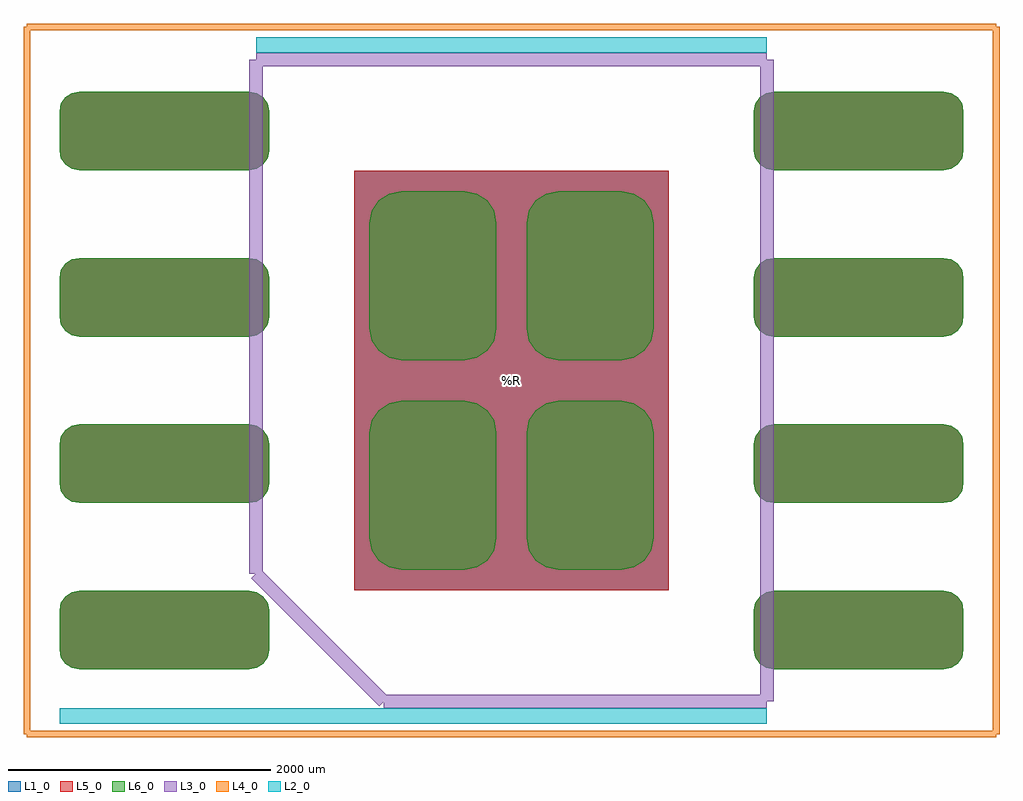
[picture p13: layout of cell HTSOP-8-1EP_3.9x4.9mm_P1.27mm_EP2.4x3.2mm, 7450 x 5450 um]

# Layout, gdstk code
import gdstk
lib = gdstk.Library(unit=1e-6, precision=1e-09)
def R(c, l, rs):  # rectangles x0, y0, x1, y1
    for r in rs: c.add(gdstk.rectangle(r[:2], r[2:], *l))
def P(c, l, *ps):  # polygons
    for p in ps: c.add(gdstk.Polygon(p, *l))
L1_0 = (1, 0)
L2_0 = (2, 0)
L3_0 = (3, 0)
L4_0 = (4, 0)
L5_0 = (5, 0)
L6_0 = (6, 0)

htsop_8_1ep_3_9x4_9mm_p1 = lib.new_cell('HTSOP-8-1EP_3.9x4.9mm_P1.27mm_EP2.4x3.2mm')
R(htsop_8_1ep_3_9x4_9mm_p1, L1_0, [(-1200,-1600,1200,1600)])
P(htsop_8_1ep_3_9x4_9mm_p1, L1_0, [(-2000,-2205),(-1943,-2194),(-1894,-2161),(-1861,-2112),(-1850,-2055),(-1850,-1755),(-1861,-1698),(-1894,-1649),(-1943,-1616),(-2000,-1605),(-3300,-1605),(-3357,-1616),(-3406,-1649),(-3439,-1698),(-3450,-1755),(-3450,-2055),(-3439,-2112),(-3406,-2161),(-3357,-2194),(-3300,-2205)],
  [(-2000,-935),(-1943,-924),(-1894,-891),(-1861,-842),(-1850,-785),(-1850,-485),(-1861,-428),(-1894,-379),(-1943,-346),(-2000,-335),(-3300,-335),(-3357,-346),(-3406,-379),(-3439,-428),(-3450,-485),(-3450,-785),(-3439,-842),(-3406,-891),(-3357,-924),(-3300,-935)],
  [(-2000,335),(-1943,346),(-1894,379),(-1861,428),(-1850,485),(-1850,785),(-1861,842),(-1894,891),(-1943,924),(-2000,935),(-3300,935),(-3357,924),(-3406,891),(-3439,842),(-3450,785),(-3450,485),(-3439,428),(-3406,379),(-3357,346),(-3300,335)],
  [(-2000,1605),(-1943,1616),(-1894,1649),(-1861,1698),(-1850,1755),(-1850,2055),(-1861,2112),(-1894,2161),(-1943,2194),(-2000,2205),(-3300,2205),(-3357,2194),(-3406,2161),(-3439,2112),(-3450,2055),(-3450,1755),(-3439,1698),(-3406,1649),(-3357,1616),(-3300,1605)],
  [(3300,1605),(3357,1616),(3406,1649),(3439,1698),(3450,1755),(3450,2055),(3439,2112),(3406,2161),(3357,2194),(3300,2205),(2000,2205),(1943,2194),(1894,2161),(1861,2112),(1850,2055),(1850,1755),(1861,1698),(1894,1649),(1943,1616),(2000,1605)],
  [(3300,335),(3357,346),(3406,379),(3439,428),(3450,485),(3450,785),(3439,842),(3406,891),(3357,924),(3300,935),(2000,935),(1943,924),(1894,891),(1861,842),(1850,785),(1850,485),(1861,428),(1894,379),(1943,346),(2000,335)],
  [(3300,-935),(3357,-924),(3406,-891),(3439,-842),(3450,-785),(3450,-485),(3439,-428),(3406,-379),(3357,-346),(3300,-335),(2000,-335),(1943,-346),(1894,-379),(1861,-428),(1850,-485),(1850,-785),(1861,-842),(1894,-891),(1943,-924),(2000,-935)],
  [(3300,-2205),(3357,-2194),(3406,-2161),(3439,-2112),(3450,-2055),(3450,-1755),(3439,-1698),(3406,-1649),(3357,-1616),(3300,-1605),(2000,-1605),(1943,-1616),(1894,-1649),(1861,-1698),(1850,-1755),(1850,-2055),(1861,-2112),(1894,-2161),(1943,-2194),(2000,-2205)])
R(htsop_8_1ep_3_9x4_9mm_p1, L5_0, [(-1200,-1600,1200,1600)])
P(htsop_8_1ep_3_9x4_9mm_p1, L5_0, [(-2000,-2205),(-1943,-2194),(-1894,-2161),(-1861,-2112),(-1850,-2055),(-1850,-1755),(-1861,-1698),(-1894,-1649),(-1943,-1616),(-2000,-1605),(-3300,-1605),(-3357,-1616),(-3406,-1649),(-3439,-1698),(-3450,-1755),(-3450,-2055),(-3439,-2112),(-3406,-2161),(-3357,-2194),(-3300,-2205)],
  [(-2000,-935),(-1943,-924),(-1894,-891),(-1861,-842),(-1850,-785),(-1850,-485),(-1861,-428),(-1894,-379),(-1943,-346),(-2000,-335),(-3300,-335),(-3357,-346),(-3406,-379),(-3439,-428),(-3450,-485),(-3450,-785),(-3439,-842),(-3406,-891),(-3357,-924),(-3300,-935)],
  [(-2000,335),(-1943,346),(-1894,379),(-1861,428),(-1850,485),(-1850,785),(-1861,842),(-1894,891),(-1943,924),(-2000,935),(-3300,935),(-3357,924),(-3406,891),(-3439,842),(-3450,785),(-3450,485),(-3439,428),(-3406,379),(-3357,346),(-3300,335)],
  [(-2000,1605),(-1943,1616),(-1894,1649),(-1861,1698),(-1850,1755),(-1850,2055),(-1861,2112),(-1894,2161),(-1943,2194),(-2000,2205),(-3300,2205),(-3357,2194),(-3406,2161),(-3439,2112),(-3450,2055),(-3450,1755),(-3439,1698),(-3406,1649),(-3357,1616),(-3300,1605)],
  [(3300,1605),(3357,1616),(3406,1649),(3439,1698),(3450,1755),(3450,2055),(3439,2112),(3406,2161),(3357,2194),(3300,2205),(2000,2205),(1943,2194),(1894,2161),(1861,2112),(1850,2055),(1850,1755),(1861,1698),(1894,1649),(1943,1616),(2000,1605)],
  [(3300,335),(3357,346),(3406,379),(3439,428),(3450,485),(3450,785),(3439,842),(3406,891),(3357,924),(3300,935),(2000,935),(1943,924),(1894,891),(1861,842),(1850,785),(1850,485),(1861,428),(1894,379),(1943,346),(2000,335)],
  [(3300,-935),(3357,-924),(3406,-891),(3439,-842),(3450,-785),(3450,-485),(3439,-428),(3406,-379),(3357,-346),(3300,-335),(2000,-335),(1943,-346),(1894,-379),(1861,-428),(1850,-485),(1850,-785),(1861,-842),(1894,-891),(1943,-924),(2000,-935)],
  [(3300,-2205),(3357,-2194),(3406,-2161),(3439,-2112),(3450,-2055),(3450,-1755),(3439,-1698),(3406,-1649),(3357,-1616),(3300,-1605),(2000,-1605),(1943,-1616),(1894,-1649),(1861,-1698),(1850,-1755),(1850,-2055),(1861,-2112),(1894,-2161),(1943,-2194),(2000,-2205)])
P(htsop_8_1ep_3_9x4_9mm_p1, L6_0, [(-2000,-2205),(-1943,-2194),(-1894,-2161),(-1861,-2112),(-1850,-2055),(-1850,-1755),(-1861,-1698),(-1894,-1649),(-1943,-1616),(-2000,-1605),(-3300,-1605),(-3357,-1616),(-3406,-1649),(-3439,-1698),(-3450,-1755),(-3450,-2055),(-3439,-2112),(-3406,-2161),(-3357,-2194),(-3300,-2205)],
  [(-2000,-935),(-1943,-924),(-1894,-891),(-1861,-842),(-1850,-785),(-1850,-485),(-1861,-428),(-1894,-379),(-1943,-346),(-2000,-335),(-3300,-335),(-3357,-346),(-3406,-379),(-3439,-428),(-3450,-485),(-3450,-785),(-3439,-842),(-3406,-891),(-3357,-924),(-3300,-935)],
  [(-2000,335),(-1943,346),(-1894,379),(-1861,428),(-1850,485),(-1850,785),(-1861,842),(-1894,891),(-1943,924),(-2000,935),(-3300,935),(-3357,924),(-3406,891),(-3439,842),(-3450,785),(-3450,485),(-3439,428),(-3406,379),(-3357,346),(-3300,335)],
  [(-2000,1605),(-1943,1616),(-1894,1649),(-1861,1698),(-1850,1755),(-1850,2055),(-1861,2112),(-1894,2161),(-1943,2194),(-2000,2205),(-3300,2205),(-3357,2194),(-3406,2161),(-3439,2112),(-3450,2055),(-3450,1755),(-3439,1698),(-3406,1649),(-3357,1616),(-3300,1605)],
  [(3300,1605),(3357,1616),(3406,1649),(3439,1698),(3450,1755),(3450,2055),(3439,2112),(3406,2161),(3357,2194),(3300,2205),(2000,2205),(1943,2194),(1894,2161),(1861,2112),(1850,2055),(1850,1755),(1861,1698),(1894,1649),(1943,1616),(2000,1605)],
  [(3300,335),(3357,346),(3406,379),(3439,428),(3450,485),(3450,785),(3439,842),(3406,891),(3357,924),(3300,935),(2000,935),(1943,924),(1894,891),(1861,842),(1850,785),(1850,485),(1861,428),(1894,379),(1943,346),(2000,335)],
  [(3300,-935),(3357,-924),(3406,-891),(3439,-842),(3450,-785),(3450,-485),(3439,-428),(3406,-379),(3357,-346),(3300,-335),(2000,-335),(1943,-346),(1894,-379),(1861,-428),(1850,-485),(1850,-785),(1861,-842),(1894,-891),(1943,-924),(2000,-935)],
  [(3300,-2205),(3357,-2194),(3406,-2161),(3439,-2112),(3450,-2055),(3450,-1755),(3439,-1698),(3406,-1649),(3357,-1616),(3300,-1605),(2000,-1605),(1943,-1616),(1894,-1649),(1861,-1698),(1850,-1755),(1850,-2055),(1861,-2112),(1894,-2161),(1943,-2194),(2000,-2205)],
  [(-357,-1445),(-265,-1427),(-186,-1374),(-133,-1295),(-115,-1202),(-115,-398),(-133,-305),(-186,-226),(-265,-173),(-357,-155),(-842,-155),(-935,-173),(-1014,-226),(-1067,-305),(-1085,-397),(-1085,-1202),(-1067,-1295),(-1014,-1374),(-935,-1427),(-842,-1445)],
  [(-357,155),(-265,173),(-186,226),(-133,305),(-115,398),(-115,1202),(-133,1295),(-186,1374),(-265,1427),(-357,1445),(-842,1445),(-935,1427),(-1014,1374),(-1067,1295),(-1085,1202),(-1085,398),(-1067,305),(-1014,226),(-935,173),(-842,155)],
  [(842,-1445),(935,-1427),(1014,-1374),(1067,-1295),(1085,-1202),(1085,-398),(1067,-305),(1014,-226),(935,-173),(842,-155),(358,-155),(265,-173),(186,-226),(133,-305),(115,-397),(115,-1202),(133,-1295),(186,-1374),(265,-1427),(357,-1445)],
  [(842,155),(935,173),(1014,226),(1067,305),(1085,398),(1085,1202),(1067,1295),(1014,1374),(935,1427),(842,1445),(358,1445),(265,1427),(186,1374),(133,1295),(115,1202),(115,398),(133,305),(186,226),(265,173),(357,155)])
htsop_8_1ep_3_9x4_9mm_p1.add(gdstk.FlexPath([(0,2560),(1950,2560)], 120, ends="flush", simple_path=True, layer=2, datatype=0))  # L2_0
htsop_8_1ep_3_9x4_9mm_p1.add(gdstk.FlexPath([(0,2560),(-1950,2560)], 120, ends="flush", simple_path=True, layer=2, datatype=0))  # L2_0
htsop_8_1ep_3_9x4_9mm_p1.add(gdstk.FlexPath([(0,-2560),(1950,-2560)], 120, ends="flush", simple_path=True, layer=2, datatype=0))  # L2_0
htsop_8_1ep_3_9x4_9mm_p1.add(gdstk.FlexPath([(0,-2560),(-3450,-2560)], 120, ends="flush", simple_path=True, layer=2, datatype=0))  # L2_0
htsop_8_1ep_3_9x4_9mm_p1.add(gdstk.FlexPath([(-975,-2450),(1950,-2450)], 100, ends="flush", simple_path=True, layer=3, datatype=0))  # L3_0
htsop_8_1ep_3_9x4_9mm_p1.add(gdstk.FlexPath([(1950,-2450),(1950,2450)], 100, ends="flush", simple_path=True, layer=3, datatype=0))  # L3_0
htsop_8_1ep_3_9x4_9mm_p1.add(gdstk.FlexPath([(1950,2450),(-1950,2450)], 100, ends="flush", simple_path=True, layer=3, datatype=0))  # L3_0
htsop_8_1ep_3_9x4_9mm_p1.add(gdstk.FlexPath([(-1950,2450),(-1950,-1475)], 100, ends="flush", simple_path=True, layer=3, datatype=0))  # L3_0
htsop_8_1ep_3_9x4_9mm_p1.add(gdstk.FlexPath([(-1950,-1475),(-975,-2450)], 100, ends="flush", simple_path=True, layer=3, datatype=0))  # L3_0
htsop_8_1ep_3_9x4_9mm_p1.add(gdstk.FlexPath([(-3700,-2700),(-3700,2700)], 50, ends="flush", simple_path=True, layer=4, datatype=0))  # L4_0
htsop_8_1ep_3_9x4_9mm_p1.add(gdstk.FlexPath([(-3700,2700),(3700,2700)], 50, ends="flush", simple_path=True, layer=4, datatype=0))  # L4_0
htsop_8_1ep_3_9x4_9mm_p1.add(gdstk.FlexPath([(3700,2700),(3700,-2700)], 50, ends="flush", simple_path=True, layer=4, datatype=0))  # L4_0
htsop_8_1ep_3_9x4_9mm_p1.add(gdstk.FlexPath([(3700,-2700),(-3700,-2700)], 50, ends="flush", simple_path=True, layer=4, datatype=0))  # L4_0
htsop_8_1ep_3_9x4_9mm_p1.add(gdstk.Label('REF**', (0,-3400), layer=2, texttype=0))
htsop_8_1ep_3_9x4_9mm_p1.add(gdstk.Label('HTSOP-8-1EP_3.9x4.9mm_P1.27mm_EP2.4x3.2mm', (0,3400), layer=3, texttype=0))
htsop_8_1ep_3_9x4_9mm_p1.add(gdstk.Label('%R', (0,0), layer=3, texttype=0))

lib.write_gds('HTSOP-8-1EP_3.9x4.9mm_P1.27mm_EP2.4x3.2mm.gds')
